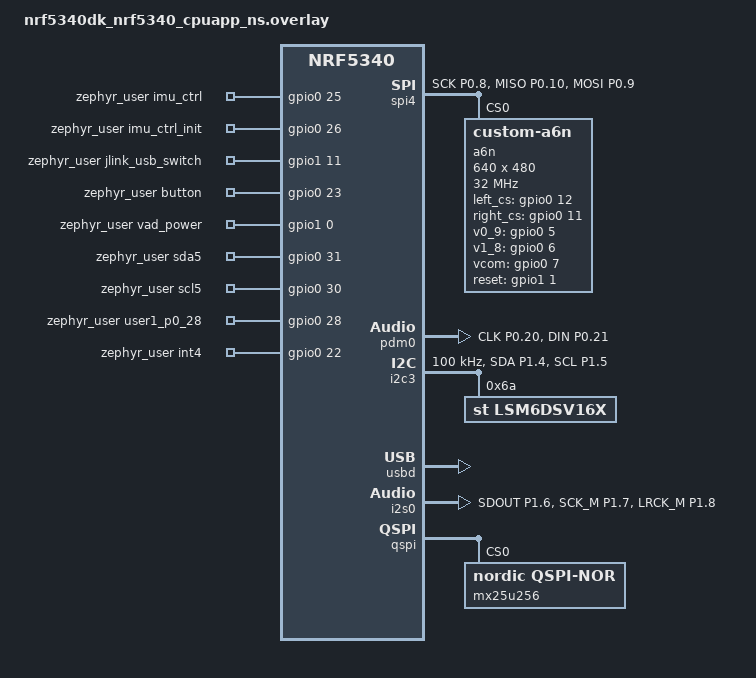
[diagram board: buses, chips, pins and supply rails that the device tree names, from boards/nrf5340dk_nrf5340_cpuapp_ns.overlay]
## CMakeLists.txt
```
#
# Copyright (c) 2018 Nordic Semiconductor
#
# SPDX-License-Identifier: LicenseRef-Nordic-5-Clause

cmake_minimum_required(VERSION 3.20.0)

# Note: custom driver module registration enabled for A6N integration
set(ZEPHYR_EXTRA_MODULES ${CMAKE_CURRENT_SOURCE_DIR}/custom_driver_module)

find_package(Zephyr REQUIRED HINTS $ENV{ZEPHYR_BASE})
project(nrf5340_ble_simulator)

# Add nanopb support for protobuf
list(APPEND CMAKE_MODULE_PATH ${ZEPHYR_BASE}/modules/nanopb)
include(nanopb)

add_subdirectory(src/mos_driver)
add_subdirectory(src/mos_components/mos_ble)
add_subdirectory(src/mos_components/mos_sysport)
add_subdirectory(src/mos_components/mos_pdm)
add_subdirectory(src/mos_components/mos_battery)
add_subdirectory(src/mos_components/mos_button)
add_subdirectory(src/mos_components/mos_interrupt)
add_subdirectory(src/mos_components/mos_lvgl_display)
add_subdirectory(src/mos_components/mos_jlink_usb_switch)

target_include_directories(app PRIVATE src src/protobuf)

target_sources(app PRIVATE
    src/main.c
    src/protobuf/protobuf_handler.c
    src/shell_display_control.c
    src/shell_opt3006.c
    src/shell_battery_control.c
    src/shell_audio_control.c
    src/shell_lsm6dsv16x.c
    src/shell_jlink_usb_switch.c
    src/shell_npm1300_led.c
)

# Add protobuf sources when available
if(EXISTS ${CMAKE_CURRENT_SOURCE_DIR}/src/proto/mentraos_ble.pb.c)
  target_sources(app PRIVATE src/proto/mentraos_ble.pb.c)
  target_include_directories(app PRIVATE src/proto)
elseif(EXISTS ${CMAKE_CURRENT_SOURCE_DIR}/src/mentraos_ble.pb.c)
  target_sources(app PRIVATE src/mentraos_ble.pb.c)
endif()


zephyr_library_include_directories(.)
```

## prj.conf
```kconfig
#
# Copyright (c) 2018 Nordic Semiconductor
#
# SPDX-License-Identifier: LicenseRef-Nordic-5-Clause
#

# Enable the UART driver
# CONFIG_UART_ASYNC_API=y  # Disabled: dependency not satisfied
CONFIG_NRFX_UARTE0=y
CONFIG_SERIAL=y

CONFIG_GPIO=y
CONFIG_LED_GPIO=n

CONFIG_CLOCK_CONTROL=y
CONFIG_CLOCK_CONTROL_NRF=y
# Enable NRFX clock driver for 128MHz configuration
CONFIG_NRFX_CLOCK=y
# Enable high-frequency external crystal for better SPI timing
CONFIG_SYSTEM_CLOCK_NO_WAIT=y

# Make sure printk is printing to the UART console
CONFIG_CONSOLE=y
CONFIG_UART_CONSOLE=y

CONFIG_HEAP_MEM_POOL_SIZE=2048

# High-Frequency Clock Configuration for SPI Performance
CONFIG_CLOCK_CONTROL=y
CONFIG_CLOCK_CONTROL_NRF=y
# Enable high-frequency external crystal for better SPI timing
CONFIG_SYSTEM_CLOCK_NO_WAIT=y

CONFIG_BT=y
CONFIG_BT_PERIPHERAL=y
CONFIG_BT_DEVICE_NAME="MENTRA_DISPLAY_"
CONFIG_BT_MAX_CONN=1
CONFIG_BT_MAX_PAIRED=1

# Enable BLE GATT
CONFIG_BT_GATT_SERVICE_CHANGED=y

# Enable advertising
CONFIG_BT_BROADCASTER=y
CONFIG_BT_EXT_ADV=n

# MentraOS Version Configuration
# CONFIG_MENTRAOS_VERSION_STRING="V1.2.6"  # Disabled: symbol not defined in Kconfig

# Increase buffer sizes for protobuf messages
CONFIG_BT_L2CAP_TX_MTU=247
CONFIG_BT_BUF_ACL_RX_SIZE=251
CONFIG_BT_BUF_ACL_TX_SIZE=251
CONFIG_BT_DEVICE_NAME_DYNAMIC=y
# Enable bonding
CONFIG_BT_SETTINGS=y
CONFIG_FLASH=y
CONFIG_FLASH_PAGE_LAYOUT=y
CONFIG_FLASH_MAP=y

# BLE signing (AES-CMAC) - required when bonding is enabled, fixes:
#   bt_gatt: Unable to import the key for AES CMAC -134
#   main: Chunk send failed / Final failure at offset=0
CONFIG_PSA_WANT_ALG_CMAC=y
CONFIG_PSA_WANT_KEY_TYPE_AES=y
CONFIG_PSA_WANT_ALG_ECB_NO_PADDING=y

# Enable DK LED and Buttons library
CONFIG_DK_LIBRARY=y

# Enable PWM for LED brightness control
CONFIG_PWM=y
CONFIG_PWM_LOG_LEVEL_DBG=y

CONFIG_SYSTEM_WORKQUEUE_STACK_SIZE=2048

CONFIG_MAIN_STACK_SIZE=4096
# Config logger
CONFIG_LOG=y
CONFIG_USE_SEGGER_RTT=y
# CONFIG_LOG_BACKEND_RTT=y
CONFIG_LOG_BACKEND_UART=n

CONFIG_LOG_PRINTK=y
# CONFIG_LOG_DEFAULT_LEVEL=0
# Configure log filtering - ensure printk goes to console
CONFIG_LOG_RUNTIME_FILTERING=y

CONFIG_ASSERT=y

# USB Device Configuration - MentraOS Branding
CONFIG_USB_DEVICE_VID=0x1915
CONFIG_USB_DEVICE_PID=0x530A
CONFIG_USB_DEVICE_MANUFACTURER="MENTRA LABS .INC"
CONFIG_USB_DEVICE_PRODUCT="Mentra Nex1 Glasses"
# CONFIG_USB_DEVICE_SN="0123456789ABCDEF"

CONFIG_USB_DEVICE_STACK=y

CONFIG_USB_CDC_ACM=y
CONFIG_UART_LINE_CTRL=y
CONFIG_USB_DEVICE_INITIALIZE_AT_BOOT=y

# Enable nanopb for protobuf support
CONFIG_NANOPB=y

# Display + LVGL Configuration - WORKING IMPLEMENTATION FROM PERIPHERAL_UART_NEXT
CONFIG_DISPLAY=y
CONFIG_DISPLAY_LOG_LEVEL_ERR=y
CONFIG_LVGL=y
CONFIG_LV_COLOR_DEPTH_1=y
CONFIG_LV_Z_MEM_POOL_SIZE=65536
CONFIG_LV_USE_LABEL=y
CONFIG_LV_USE_THEME_DEFAULT=y

# Enable LVGL for Zephyr
CONFIG_LV_Z_FLUSH_THREAD=y
CONFIG_LV_Z_FLUSH_THREAD_STACK_SIZE=4096

# LVGL Display Buffer Settings - MUCH LARGER for full screen updates
# CONFIG_LV_Z_FULL_REFRESH=y
CONFIG_LV_Z_VDB_SIZE=40
CONFIG_LV_Z_DOUBLE_VDB=y
CONFIG_LV_Z_VDB_CUSTOM_SECTION=n
# Remove dummy display - switching to A6N projector for testing
# CONFIG_DUMMY_DISPLAY=y

# Enable custom A6N Display Driver for projector testing  
CONFIG_CUSTOM_A6N=y

# SPI Support for Display with High-Frequency Optimization
CONFIG_SPI=y
# Enhanced SPI configuration for 32MHz operation
CONFIG_SPI_ASYNC=y

# LVGL Fonts - Keep minimal set to save FLASH memory
CONFIG_LV_FONT_MONTSERRAT_12=y
CONFIG_LV_FONT_MONTSERRAT_14=y
# Large display fonts disabled to save FLASH memory
# CONFIG_LV_FONT_MONTSERRAT_16=y  
CONFIG_LV_FONT_MONTSERRAT_18=y
# CONFIG_LV_FONT_MONTSERRAT_20=y
# CONFIG_LV_FONT_MONTSERRAT_22=y
# CONFIG_LV_FONT_MONTSERRAT_30=y  # 30pt font commented out in project
CONFIG_LV_FONT_MONTSERRAT_48=y

# Unicode and Font support for Chinese characters - minimal set
CONFIG_LV_USE_FONT_COMPRESSED=y
CONFIG_LV_FONT_FMT_TXT_LARGE=y

# Enable extended ASCII and Unicode support
CONFIG_LV_TXT_ENC_UTF8=y

# Enable only essential Chinese CJK font (14px sufficient for SSD1306)
# CONFIG_LV_FONT_SIMSUN_14_CJK=y
# CONFIG_LV_FONT_SIMSUN_16_CJK=y  # Disabled to save ~70KB

# International fonts disabled to save memory
# CONFIG_LV_FONT_DEJAVU_16_PERSIAN_HEBREW=y  # Disabled to save ~20KB  
# CONFIG_LV_FONT_UNSCII_8=y                 # Disabled to save ~8KB
# CONFIG_LV_FONT_UNSCII_16=y                # Disabled to save ~15KB

# Power Management
CONFIG_PM_DEVICE=y
CONFIG_POWEROFF=y

# PDM Audio Configuration for Microphone Input
CONFIG_AUDIO=y
CONFIG_AUDIO_DMIC=y
CONFIG_AUDIO_DMIC_NRFX_PDM=y

# LC3 Codec Configuration for Audio Streaming  
CONFIG_AUDIO_CODEC=y

# Math library for audio processing
CONFIG_NEWLIB_LIBC=y
CONFIG_FPU=y


CONFIG_CMSIS_DSP=y
CONFIG_SW_CODEC_LC3_T2_SOFTWARE=y
CONFIG_LC3_ENC_CHAN_MAX=2
CONFIG_LC3_DEC_CHAN_MAX=2

CONFIG_NRFX_I2S0=y
CONFIG_USER_STEREO_1RX_L_1RX_R=y
# CONFIG_USER_STEREO_2RX_L is not set
# CONFIG_USER_STEREO_2RX_LR is not set

CONFIG_BT_USER_PHY_UPDATE=y
CONFIG_BT_USER_DATA_LEN_UPDATE=y

# CONFIG_SEGGER_RTT_BUFFER_SIZE_UP=4096
CONFIG_LOG_BUFFER_SIZE=8192
CONFIG_LOG_MODE_IMMEDIATE=n 
CONFIG_LOG_MODE_DEFERRED=y




CONFIG_I2C=y

CONFIG_GPIO=y
CONFIG_DISPLAY_LOG_LEVEL_DBG=y

CONFIG_TFM_SECURE_UART=n
CONFIG_TFM_LOG_LEVEL_SILENCE=y

# CONFIG_LV_USE_SYSMON=y
# CONFIG_LV_USE_PERF_MONITOR=y
# CONFIG_LV_FONT_DEFAULT_MONTSERRAT_12=y
# CONFIG_LV_USE_PERF_MONITOR_LOG_MODE=y

CONFIG_SHELL=y
CONFIG_LOG_CMDS=y
CONFIG_SHELL_BACKEND_SERIAL=y
CONFIG_SHELL_BACKEND_RTT=y
CONFIG_SHELL_PROMPT_UART="MentraOS:~$ "
CONFIG_SHELL_PROMPT_RTT="MentraOS:~$ "
CONFIG_SHELL_CMD_BUFF_SIZE=256
CONFIG_SHELL_PRINTF_BUFF_SIZE=64
CONFIG_SHELL_BACKEND_SERIAL_TX_RING_BUFFER_SIZE=512
CONFIG_SHELL_STACK_SIZE=8192
CONFIG_SHELL_BACKEND_SERIAL_LOG_MESSAGE_QUEUE_SIZE=2048
CONFIG_I2C_SHELL=y
CONFIG_SENSOR_SHELL=y

CONFIG_REGULATOR=y
CONFIG_SENSOR=y
CONFIG_LED=y
# Disable LED PWM driver - pwm1 is disabled and pwmleds node is removed
CONFIG_LED_PWM=n
CONFIG_NRF_FUEL_GAUGE=y
CONFIG_NRF_FUEL_GAUGE_VARIANT_SECONDARY_CELL=y
# CONFIG_LSM6DSV16X=y  # Disabled - using raw I2C mode, alias points to i2c2 bus directly
# CONFIG_LIS2MDL=y
```

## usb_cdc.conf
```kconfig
# USB CDC ACM Configuration for Shell and Log via USB
CONFIG_USB_DEVICE_STACK=y
CONFIG_USB_DEVICE_MANUFACTURER="Nordic Semiconductor"
CONFIG_USB_DEVICE_PRODUCT="Mentra Nex1 Glasses"
CONFIG_USB_DEVICE_VID=0x1915
CONFIG_USB_DEVICE_PID=0x530A
CONFIG_USB_CDC_ACM=y
CONFIG_UART_LINE_CTRL=y
CONFIG_USB_DEVICE_INITIALIZE_AT_BOOT=y
```

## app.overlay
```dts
#include <zephyr/dt-bindings/sensor/lsm6dsv16x.h>

/ {
    chosen {
        zephyr,display = &a6n;
        // /* USB CDC ACM for console/shell */
        zephyr,console = &cdc_acm_uart0;
        zephyr,shell-uart = &cdc_acm_uart0;
        nordic,pm-ext-flash = &mx25u256;
    };
    /delete-node/ aliases;
    aliases {
        opt3006 = &i2c3;  // OPT3006 Ambient Light Sensor I2C bus (raw I2C mode)
        lsm6dsv16x = &lsm6dsv16x;  // LSM6DSV16X IMU sensor node
    };

    zephyr_user: zephyr,user {
        imu_int1-gpios = <&gpio1 15 GPIO_ACTIVE_HIGH>;  // P1.15 for LSM6DSV16X INT1
        jlink_usb_switch-gpios = <&gpio1 11 GPIO_ACTIVE_HIGH>;  // P1.11 for J-Link/USB switch control
        button-gpios = <&gpio0 23 GPIO_ACTIVE_HIGH>;  // P0.23 for button input
        vad_power-gpios = <&gpio1 0 GPIO_ACTIVE_HIGH>;  // P1.00 for VAD_EN power control

        int4-gpios = <&gpio0 22 GPIO_ACTIVE_HIGH>;     // P0.22 INT4
        ear_en-gpios = <&gpio0 19 GPIO_ACTIVE_HIGH>;  // P0.19 for Ear Power Enable
    };
};

&pinctrl {
    spi4_default: spi4_default {
        group1 {
            psels = <NRF_PSEL(SPIM_SCK, 0, 8)>,
                    <NRF_PSEL(SPIM_MISO, 0, 10)>,
                    <NRF_PSEL(SPIM_MOSI, 0, 9)>;
            nordic,drive-mode = <NRF_DRIVE_E0E1>;
        };
    };
    spi4_sleep: spi4_sleep {
        group1 {
            psels = <NRF_PSEL(SPIM_SCK, 0, 8)>,
                    <NRF_PSEL(SPIM_MISO, 0, 10)>,
                    <NRF_PSEL(SPIM_MOSI, 0, 9)>;
            low-power-enable;
        };
    };
    pdm0_default: pdm0_default {
        group1 {
            psels = <NRF_PSEL(PDM_CLK, 0, 20)>,
                    <NRF_PSEL(PDM_DIN, 0, 21)>;
        };
    };

    i2c2_default: i2c2_default {
        group1 {
            psels = <NRF_PSEL(TWIM_SDA, 0, 31)>,
                    <NRF_PSEL(TWIM_SCL, 0, 30)>;
            bias-pull-up;
            nordic,drive-mode = <NRF_DRIVE_S0D1>;
        };
    };
    i2c2_sleep: i2c2_sleep {
        group1 {
            psels = <NRF_PSEL(TWIM_SDA, 0, 31)>,
                    <NRF_PSEL(TWIM_SCL, 0, 30)>;
            low-power-enable;
        };
    };
    i2c3_default: i2c3_default {
        group1 {
            psels = <NRF_PSEL(TWIM_SDA, 1, 3)>,
                    <NRF_PSEL(TWIM_SCL, 1, 2)>;
            bias-pull-up;
            nordic,drive-mode = <NRF_DRIVE_S0D1>;
        };
    };
    i2c3_sleep: i2c3_sleep {
        group1 {
            psels = <NRF_PSEL(TWIM_SDA, 1, 3)>,
                    <NRF_PSEL(TWIM_SCL, 1, 2)>;
            low-power-enable;
        };
    };

    i2s0_default: i2s0_default {
        group1 {
            psels = <NRF_PSEL(I2S_SDOUT, 1, 6)>,
                    <NRF_PSEL(I2S_SCK_M, 1, 7)>,
                    <NRF_PSEL(I2S_LRCK_M, 1, 8)>;
            // <NRF_PSEL(I2S_SDIN, 0, 0)>;

        };
    };
};

&spi3 {
    status = "disabled";
};

/* Enable SPI4 with 32MHz capability for A6N */
&spi4 {
    compatible = "nordic,nrf-spim";
    status = "okay";
    pinctrl-0 = <&spi4_default>;
    pinctrl-1 = <&spi4_sleep>;
    pinctrl-names = "default", "sleep";

    a6n: a6n@0 {
        compatible = "zephyr,custom-a6n";
        reg = <0>;
        status = "okay";  // Enable A6N for projector testing
        spi-max-frequency = <32000000>;
        left_cs-gpios = <&gpio0 12 GPIO_ACTIVE_HIGH>; // cs0
        right_cs-gpios = <&gpio0 11 GPIO_ACTIVE_HIGH>;// cs1
        /* Power enables and reset */
        v0_9-gpios = <&gpio0 5 GPIO_ACTIVE_HIGH>;  /* P0.05 */
        v1_8-gpios = <&gpio0 6 GPIO_ACTIVE_HIGH>;  /* P0.06 */
        vcom-gpios = <&gpio0 7 GPIO_ACTIVE_HIGH>;  /* P0.07 */
        reset-gpios = <&gpio1 1 GPIO_ACTIVE_HIGH>;  /* P1.01 */

        width = <640>;
        height = <480>;
    };
};



/* Enable PDM for microphone audio streaming */
&pdm0 {
    status = "okay";
    pinctrl-0 = <&pdm0_default>;
    pinctrl-names = "default";
    clock-source = "PCLK32M_HFXO";
    queue-size = <4>;
};

&i2c2 {
    compatible = "nordic,nrf-twim";
    status = "okay";
    pinctrl-0 = <&i2c2_default>;
    pinctrl-1 = <&i2c2_sleep>;
    pinctrl-names = "default", "sleep";
    
    lsm6dsv16x: lsm6dsv16x@6a {
        compatible = "st,lsm6dsv16x";
        reg = <0x6a>; /* AD0 = GND */
        status = "okay";
        int1-gpios = <&gpio1 15 GPIO_ACTIVE_HIGH>; /* P1.15 INT1 */
        accel-odr = <LSM6DSV16X_DT_ODR_AT_60Hz>;
        gyro-odr = <LSM6DSV16X_DT_ODR_AT_60Hz>;
        accel-range = <LSM6DSV16X_DT_FS_4G>;
        gyro-range = <LSM6DSV16X_DT_FS_500DPS>;
    };
};

&i2c3 {
    compatible = "nordic,nrf-twim";
    status = "okay";
    pinctrl-0 = <&i2c3_default>;
    pinctrl-1 = <&i2c3_sleep>;
    pinctrl-names = "default", "sleep";
};



&gpio_fwd {
    status = "disabled";
    /delete-node/ uart;
};

zephyr_udc0: &usbd {
    compatible = "nordic,nrf-usbd";
    status = "okay";

    cdc_acm_uart0: cdc_acm_uart0 {
        compatible = "zephyr,cdc-acm-uart";
    };
};

&i2s0 {
    compatible = "nordic,nrf-i2s";
    status = "okay";
    pinctrl-0 = <&i2s0_default>;
    pinctrl-names = "default";
    // clock-source = "ACLK";
};
/delete-node/ &mx25r64;
/delete-node/ &led0;
/delete-node/ &led1;
/delete-node/ &led2;
/delete-node/ &led3;
/delete-node/ &button0;
/delete-node/ &button1;
/delete-node/ &button2;
/delete-node/ &button3;

&qspi {
    status = "okay";
    pinctrl-0 = <&qspi_default>;
    pinctrl-1 = <&qspi_sleep>;
    pinctrl-names = "default", "sleep";
    mx25u256: mx25u256@0 {
        compatible = "nordic,qspi-nor";
        reg = <0>;
        /* MX25U256 supports only pp and pp4io */
        writeoc = "pp4io";
        /* MX25U256 supports all readoc options */
        readoc = "read4io";
        sck-frequency = <32000000>;//最高 48Mhz
        address-size-32;
        enter-4byte-addr = <0xb7>;
        jedec-id = [ c2 25 39  ];
        sfdp-bfp = [ e5 20 fb ff ff ff ff 0f 44 eb 08 6b 08 3b 04 bb fe ff ff ff ff ff 00 ff ff ff 44 eb 0c 20 0f 52 10 d8 00 ff 25 52 dd 00 84 a5 04 e2 44 03 17 38 30 b0 30 b0 f7 bd d5 5c 4a 9e 29 ff f0 50 f9 85  ];
        size = <0x2000000>;// 32M
        has-dpd;
        t-enter-dpd = <10000>;
        t-exit-dpd = <35000>;
    };
};

&uart0 {
    status = "disabled";
};
&pwm0 {
    status = "disabled";
};

&pwm1 {
    status = "disabled";
};

/* Configure GPIO0 sense-edge-mask for low-power button wakeup | 配置GPIO0 sense-edge-mask用于低功耗按键唤醒 */
/* P0.23 is bit 23, so mask = (1 << 23) = 0x800000 | P0.23是第23位，所以掩码 = (1 << 23) = 0x800000 */
&gpio0 {
    sense-edge-mask = <0x800000>;
};
&gpio1 {
    sense-edge-mask = <0x0>;
};
```

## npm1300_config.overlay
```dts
/*
 * Copyright (C) 2023 Nordic Semiconductor ASA
 * SPDX-License-Identifier: Apache-2.0
 */

#include <dt-bindings/regulator/npm1300.h>
#include <zephyr/dt-bindings/input/input-event-codes.h>

&pinctrl {
    arduino_i2c_default: arduino_i2c_default {
        group1 {
            psels = <NRF_PSEL(TWIM_SCL, 0, 29)>,
                    <NRF_PSEL(TWIM_SDA, 1, 10)>;
            bias-pull-up;
        };
    };
    arduino_i2c_sleep: arduino_i2c_sleep {
        group1 {
            psels = <NRF_PSEL(TWIM_SCL, 0, 29)>,
                    <NRF_PSEL(TWIM_SDA, 1, 10)>;
            low-power-enable;
        };
    };
};

&arduino_i2c {
    status = "okay";
    pinctrl-0 = <&arduino_i2c_default>;
    pinctrl-1 = <&arduino_i2c_sleep>;
    pinctrl-names = "default", "sleep";
    clock-frequency = <I2C_BITRATE_STANDARD>;

    npm1300_ek_pmic: pmic@6b {
        compatible = "nordic,npm1300";
        reg = <0x6b>;
        // ship-to-active-time = <96>;
        // long-press-reset = "one_button";
        npm1300_ek_gpio: gpio-controller {
            compatible = "nordic,npm1300-gpio";
            gpio-controller;
            #gpio-cells = <2>;
            ngpios = <5>;
            // phandle = <6>;
        };
        npm1300_ek_regulators: regulators {
            compatible = "nordic,npm1300-regulator";

            npm1300_ek_buck1: BUCK1 {
                regulator-min-microvolt = <1000000>;
                regulator-max-microvolt = <3300000>;
                retention-microvolt = <1200000>;
            };
            npm1300_ek_buck2: BUCK2 {
                regulator-min-microvolt = <1000000>;
                regulator-max-microvolt = <3300000>;
                retention-microvolt = <1800000>;
            };

            npm1300_ek_ldo1: LDO1 {
                regulator-min-microvolt = <1000000>;
                regulator-max-microvolt = <3300000>;
                regulator-initial-mode = <NPM1300_LDSW_MODE_LDSW>;
                regulator-boot-on;
            };
            npm1300_ek_ldo2: LDO2 {
                regulator-min-microvolt = <1000000>;
                regulator-max-microvolt = <3300000>;
                regulator-initial-mode = <NPM1300_LDSW_MODE_LDSW>;
                regulator-boot-on;
            };

        };

        npm1300_ek_charger: charger {
            compatible = "nordic,npm1300-charger";
            term-microvolt = <4400000>;// 充电终止电压; Charging termination voltage
            term-warm-microvolt = <3600000>;
            // term-current-percent = <10>;
            
            // current-microamp = <800000>;// 限制充电电流(uA); Limit charging current (uA)
            current-microamp = <170000>;// 限制充电电流(uA); Limit charging current (uA)

            // trickle-microvolt = <2900000>;
            // dischg-limit-microamp = <200000>; // 限制放电电流(uA); Limit discharge current (uA)
            dischg-limit-microamp = <1000000>; // 限制放电电流(uA); Limit discharge current (uA)
            vbus-limit-microamp = <500000>;
            thermistor-ohms = <100000>;
            thermistor-beta = <3380>;

            charging-enable;
            vbatlow-charge-enable;
        };


        npm1300_ek_leds: leds {
            compatible = "nordic,npm1300-led";
            nordic,led0-mode = "host";//"error";
            nordic,led1-mode = "host";//"charging";
            nordic,led2-mode = "host";
        };

    };
};
```

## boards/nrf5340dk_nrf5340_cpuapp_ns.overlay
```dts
/ {
    chosen {
        zephyr,display = &a6n;  // Switch to A6N projector for testing
        // nordic-nus-uart = &uart0;
        // /* USB CDC ACM for console/shell */
        zephyr,console = &cdc_acm_uart0;
        zephyr,shell-uart = &cdc_acm_uart0;
        nordic,pm-ext-flash = &mx25u256;
        // nordic,pm-ext-flash = &mx25r64;  // For testing with MX25R64
    };
    /delete-node/ aliases;
    aliases {
        myals = &i2c3;  // My Ambient Light Sensor I2C bus
        lsm6dsv16x = &lsm6dsv16x;  // LSM6DSV16X IMU sensor
    };

    zephyr_user: zephyr,user {
        imu_ctrl-gpios = <&gpio0 25 GPIO_ACTIVE_HIGH>;  // P1.05 for IMU start/stop control
        imu_ctrl_init-gpios = <&gpio0 26 GPIO_ACTIVE_HIGH>;// P1.04 for IMU initial power control
        jlink_usb_switch-gpios = <&gpio1 11 GPIO_ACTIVE_HIGH>;  // P1.11 for J-Link/USB switch control
        button-gpios = <&gpio0 23 GPIO_ACTIVE_HIGH>;  // P0.23 for button input
        vad_power-gpios = <&gpio1 0 GPIO_ACTIVE_HIGH>;  // P1.00 for VAD_EN power control
        
        /* User GPIO definitions | 用户GPIO定义 */
        sda5-gpios = <&gpio0 31 GPIO_ACTIVE_HIGH>;      // P0.31 SDA5
        scl5-gpios = <&gpio0 30 GPIO_ACTIVE_HIGH>;      // P0.30 SCL5
        user1_p0_28-gpios = <&gpio0 28 GPIO_ACTIVE_HIGH>;  // P0.28 user1
        int4-gpios = <&gpio0 22 GPIO_ACTIVE_HIGH>;     // P0.22 INT4
    };
};

&pinctrl {
    spi4_default: spi4_default {
        group1 {
            psels = <NRF_PSEL(SPIM_SCK, 0, 8)>,
                    <NRF_PSEL(SPIM_MISO, 0, 10)>,
                    <NRF_PSEL(SPIM_MOSI, 0, 9)>;
            nordic,drive-mode = <NRF_DRIVE_E0E1>;
        };
    };
    spi4_sleep: spi4_sleep {
        group1 {
            psels = <NRF_PSEL(SPIM_SCK, 0, 8)>,
                    <NRF_PSEL(SPIM_MISO, 0, 10)>,
                    <NRF_PSEL(SPIM_MOSI, 0, 9)>;
            low-power-enable;
        };
    };

    pwm1_default: pwm1_default {
        group1 {
            psels = <NRF_PSEL(PWM_OUT0, 0, 13)>;  /* P0.13 */
        };
    };
    pwm1_sleep: pwm1_sleep {
        group1 {
            psels = <NRF_PSEL(PWM_OUT0, 0, 13)>;
            low-power-enable;
        };
    };

    pdm0_default: pdm0_default {
        group1 {
            psels = <NRF_PSEL(PDM_CLK, 0, 20)>,
                    <NRF_PSEL(PDM_DIN, 0, 21)>;
        };
    };


    i2c3_default: i2c3_default {
        group1 {
            psels = <NRF_PSEL(TWIM_SDA, 1, 4)>,
                    <NRF_PSEL(TWIM_SCL, 1, 5)>;
            bias-pull-up;
            nordic,drive-mode = <NRF_DRIVE_S0D1>;
        };
    };
    i2c3_sleep: i2c3_sleep {
        group1 {
            psels = <NRF_PSEL(TWIM_SDA, 1, 4)>,
                    <NRF_PSEL(TWIM_SCL, 1, 5)>;
            low-power-enable;
        };
    };

    i2s0_default: i2s0_default {
        group1 {
            psels = <NRF_PSEL(I2S_SDOUT, 1, 6)>,
                    <NRF_PSEL(I2S_SCK_M, 1, 7)>,
                    <NRF_PSEL(I2S_LRCK_M, 1, 8)>;
            // <NRF_PSEL(I2S_SDIN, 0, 0)>;

        };
    };
};

/* Disable SPI3 (8MHz limited) */
&spi3 {
    status = "disabled";
};

/* Enable SPI4 with 32MHz capability for A6N */
&spi4 {
    compatible = "nordic,nrf-spim";
    status = "okay";
    pinctrl-0 = <&spi4_default>;
    pinctrl-1 = <&spi4_sleep>;
    pinctrl-names = "default", "sleep";

    a6n: a6n@0 {
        compatible = "zephyr,custom-a6n";
        reg = <0>;
        status = "okay";  // Enable A6N for projector testing
        spi-max-frequency = <32000000>;
        left_cs-gpios = <&gpio0 12 GPIO_ACTIVE_HIGH>; // cs0
        right_cs-gpios = <&gpio0 11 GPIO_ACTIVE_HIGH>;// cs1
        /* Power enables and reset */
        v0_9-gpios = <&gpio0 5 GPIO_ACTIVE_HIGH>;  /* P0.05 */
        v1_8-gpios = <&gpio0 6 GPIO_ACTIVE_HIGH>;  /* P0.06 */
        vcom-gpios = <&gpio0 7 GPIO_ACTIVE_HIGH>;  /* P0.07 */
        reset-gpios = <&gpio1 1 GPIO_ACTIVE_HIGH>;  /* P1.01 */

        width = <640>;
        height = <480>;
    };
};

/* Enable PWM1 for protobuf handler */
&pwm1 {
    status = "okay";
    pinctrl-0 = <&pwm1_default>;
    pinctrl-1 = <&pwm1_sleep>;
    pinctrl-names = "default", "sleep";
};

/* Enable PDM for microphone audio streaming */
&pdm0 {
    status = "okay";
    pinctrl-0 = <&pdm0_default>;
    pinctrl-names = "default";
    clock-source = "PCLK32M_HFXO";
    queue-size = <4>;
};

&i2c1 {
    status = "disabled";
};

/* Enable I2C3 for OPT3006 light sensor and LSM6DSV16X IMU */
&i2c3 {
    compatible = "nordic,nrf-twim";
    status = "okay";
    pinctrl-0 = <&i2c3_default>;
    pinctrl-1 = <&i2c3_sleep>;
    pinctrl-names = "default", "sleep";
    clock-frequency = <I2C_BITRATE_STANDARD>;  // 100kHz for LSM6DSV16X

    lsm6dsv16x: lsm6dsv16x@6a {
        compatible = "st,lsm6dsv16x";
        //   AD0 = VDD → I2C address = 0x6b
        //   AD0 = GND → I2C address = 0x6a (current configuration)
        reg = <0x6a>;
        status = "okay";
        // Enable hardware sensor fusion (SFLP) for quaternion output
        // 启用硬件传感器融合（SFLP）以输出四元数
        sflp-odr = <0x3>;  // 120Hz SFLP output rate | SFLP输出频率120Hz
        sflp-fifo-enable = <0x1>;  // Enable game rotation vector (quaternion) | 启用游戏旋转向量（四元数）
        fifo-watermark = <32>;  // FIFO watermark for batch reading | FIFO水位标记用于批量读取
    };
};


&gpio_fwd {
    status = "disabled";
    /delete-node/ uart;
};

zephyr_udc0: &usbd {
    compatible = "nordic,nrf-usbd";
    status = "okay";

    cdc_acm_uart0: cdc_acm_uart0 {
        compatible = "zephyr,cdc-acm-uart";
    };
};

&i2s0 {
    compatible = "nordic,nrf-i2s";
    status = "okay";
    pinctrl-0 = <&i2s0_default>;
    pinctrl-names = "default";
    // clock-source = "ACLK";
};



// &qspi {
    //     status = "okay";
    //     pinctrl-0 = <&qspi_default>;
    //     pinctrl-1 = <&qspi_sleep>;
    //     pinctrl-names = "default", "sleep";
    //     mx25r64: mx25r6435f@0 {
        //         compatible = "nordic,qspi-nor";
        //         reg = <0>;
        //         /* MX25R64 supports only pp and pp4io */
        //         writeoc = "pp4io";
        //         /* MX25R64 supports all readoc options */
        //         readoc = "read4io";
        //         sck-frequency = <8000000>;
        //         jedec-id = [ c2 28 17  ];
        //         sfdp-bfp = [
        //             e5 20 f1 ff  ff ff ff 03  44 eb 08 6b  08 3b 04 bb
        //             ee ff ff ff  ff ff 00 ff  ff ff 00 ff  0c 20 0f 52
        //             10 d8 00 ff  23 72 f5 00  82 ed 04 cc  44 83 68 44
        //             30 b0 30 b0  f7 c4 d5 5c  00 be 29 ff  f0 d0 ff ff];
        //         size = <67108864>;
        //         has-dpd;
        //         t-enter-dpd = <10000>;
        //         t-exit-dpd = <35000>;
    //     };
// };
/* Remove LED nodes to avoid aliases conflicts with DK LEDs */
/delete-node/ &mx25r64;
/delete-node/ &led0;
/delete-node/ &led1;
/delete-node/ &led2;
/delete-node/ &led3;
/delete-node/ &button0;
/delete-node/ &button1;
/delete-node/ &button2;
/delete-node/ &button3;
&qspi {
    status = "okay";
    pinctrl-0 = <&qspi_default>;
    pinctrl-1 = <&qspi_sleep>;
    pinctrl-names = "default", "sleep";
    mx25u256: mx25u256@0 {
        compatible = "nordic,qspi-nor";
        reg = <0>;
        /* MX25U256 supports only pp and pp4io */
        writeoc = "pp4io";
        /* MX25U256 supports all readoc options */
        readoc = "read4io";
        sck-frequency = <32000000>;//最高 48Mhz
        address-size-32;
        enter-4byte-addr = <0xb7>;
        jedec-id = [ c2 25 39  ];
        sfdp-bfp = [ e5 20 fb ff ff ff ff 0f 44 eb 08 6b 08 3b 04 bb fe ff ff ff ff ff 00 ff ff ff 44 eb 0c 20 0f 52 10 d8 00 ff 25 52 dd 00 84 a5 04 e2 44 03 17 38 30 b0 30 b0 f7 bd d5 5c 4a 9e 29 ff f0 50 f9 85  ];
        size = <0x2000000>;// 32M
        has-dpd;
        t-enter-dpd = <10000>;
        t-exit-dpd = <35000>;
    };
};

&uart0 {
    status = "disabled";
};
&pwm0 {
    status = "disabled";
};
&pwm1 {
    status = "disabled";
};

/* Configure GPIO0 sense-edge-mask for low-power button wakeup | 配置GPIO0 sense-edge-mask用于低功耗按键唤醒 */
/* P0.23 is bit 23, so mask = (1 << 23) = 0x800000 | P0.23是第23位，所以掩码 = (1 << 23) = 0x800000 */
&gpio0 {
    sense-edge-mask = <0x800000>;  /* Enable SENSE for P0.23 (button) | 为P0.23（按键）启用SENSE */
};
```

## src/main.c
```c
/*
 * Copyright (c) 2018 Nordic Semiconductor ASA
 *
 * SPDX-License-Identifier: LicenseRef-Nordic-5-Clause
 */

/** @file
 *  @brief MentraOS Main Application
 */
#include <soc.h>
#include <zephyr/bluetooth/bluetooth.h>
#include <zephyr/bluetooth/gatt.h>
#include <zephyr/bluetooth/hci.h>
#include <zephyr/bluetooth/uuid.h>
#include <zephyr/device.h>
#include <zephyr/devicetree.h>
#include <zephyr/drivers/display.h>
#include <zephyr/drivers/gpio.h>
#include <zephyr/kernel.h>
#include <zephyr/types.h>

#include "mos_ble_service.h"
#include "mos_lvgl_display.h"  // Working LVGL display integration
#include "pdm_audio_stream.h"
#include "protobuf_handler.h"
// #include "display/lcd/a6n.h"  // Working A6N driver
#include <hal/nrf_gpio.h>  // For direct GPIO access
#include <nrfx_clock.h>
#include <stdbool.h>
#include <stdio.h>
#include <string.h>
#include <zephyr/irq.h>
#include <zephyr/logging/log.h>
#include <zephyr/logging/log_ctrl.h>
#include <zephyr/settings/settings.h>
#include <zephyr/sys/util.h>  // For ARRAY_SIZE macro

#include "interrupt_handler.h"  // Interrupt handler framework
#include "mos_button_app.h"     // Button application logic
#include "mos_dfu_progress.h"
#include "mos_fuel_gauge.h"
#include "mos_jlink_usb_switch_app.h"  // J-Link/USB switch application logic
#include "mos_lsm6dsv16x.h"            // LSM6DSV16X 6-axis IMU sensor
#include "mos_npm1300_ldsw.h"          // NPM1300 LDSW (load switch) control
#include "mos_npm1300_led.h"
#include "mos_opt3006.h"     // OPT3006 ambient light sensor
#include "mos_usb_detect.h"  // USB cable detection (polling mode)

LOG_MODULE_REGISTER(main, LOG_LEVEL_DBG);

#define STACKSIZE 2048
#define PRIORITY  7

#define DEVICE_NAME     CONFIG_BT_DEVICE_NAME
#define DEVICE_NAME_LEN (sizeof(DEVICE_NAME) - 1)

static K_SEM_DEFINE(ble_init_ok, 0, 1);

static struct bt_conn* current_conn;
static struct bt_conn* auth_conn;
static struct k_work   adv_work;

static uint16_t payload_mtu   = 20;
static bool     ble_connected = false;

static char           dynamic_device_name[30];
static struct bt_data ad[] = {
    BT_DATA_BYTES(BT_DATA_FLAGS, (BT_LE_AD_GENERAL | BT_LE_AD_NO_BREDR)),
    BT_DATA(BT_DATA_NAME_COMPLETE, "MENTRA_DISPLAY_", 16),
};
static struct bt_data sd[] = {
    BT_DATA_BYTES(BT_DATA_UUID128_ALL, BT_UUID_MENTRA_VAL),
};

static void setup_dynamic_advertising(void)
{
    bt_addr_le_t addr;
    size_t       count = 1;

    // Get the device address
    bt_id_get(&addr, &count);

    // Create device name with MAC suffix (last 6 hex digits)
    snprintf(dynamic_device_name, sizeof(dynamic_device_name), "MENTRA_DISPLAY_%02X%02X%02X", addr.a.val[2],
             addr.a.val[1], addr.a.val[0]);

    LOG_INF("Device name: %s", dynamic_device_name);

    // Set the Bluetooth device name
    int err = bt_set_name(dynamic_device_name);
    if (err)
    {
        LOG_ERR("Failed to set device name (err %d)", err);
    }

    // Update the advertising data with the new name
    ad[1].data     = (const uint8_t*)dynamic_device_name;
    ad[1].data_len = strlen(dynamic_device_name);

    // err = bt_le_adv_update_data(ad, ARRAY_SIZE(ad), sd, ARRAY_SIZE(sd));
    // if (err != 0)
    // {
    //     LOG_ERR("Failed to update adv data (err %d)", err);
    // }
}

const char* get_ble_device_name(void)
{
    return dynamic_device_name;
}

static void adv_work_handler(struct k_work* work)
{
    // Setup dynamic advertising
    setup_dynamic_advertising();
    int err = bt_le_adv_start(BT_LE_ADV_CONN_FAST_2, ad, 2, sd, 1);
    if (err)
    {
        LOG_ERR("Advertising failed to start (err %d)", err);
        return;
    }
}

static void advertising_start(void)
{
    k_work_submit(&adv_work);
}
void set_ble_connected_status(bool connected)
{
    ble_connected = connected;
}
bool get_ble_connected_status(void)
{
    return ble_connected;
}
static void connected(struct bt_conn* conn, uint8_t err)
{
    char addr[BT_ADDR_LE_STR_LEN];

    if (err)
    {
        LOG_ERR("Connection failed, err 0x%02x %s", err, bt_hci_err_to_str(err));
        return;
    }

    bt_addr_le_to_str(bt_conn_get_dst(conn), addr, sizeof(addr));
    LOG_INF("Connected %s", addr);
    set_ble_connected_status(true);
    current_conn = bt_conn_ref(conn);
}

static void disconnected(struct bt_conn* conn, uint8_t reason)
{
    char addr[BT_ADDR_LE_STR_LEN];

    bt_addr_le_to_str(bt_conn_get_dst(conn), addr, sizeof(addr));

    LOG_INF("Disconnected: %s, reason 0x%02x %s", addr, reason, bt_hci_err_to_str(reason));
    set_ble_connected_status(false);
    display_show_welcome_screen(); /* 断开后自动回到欢迎界面 | Return to welcome screen on disconnect */
    if (auth_conn)
    {
        bt_conn_unref(auth_conn);
        auth_conn = NULL;
    }

    if (current_conn)
    {
        bt_conn_unref(current_conn);
        current_conn = NULL;
    }
}

static void recycled_cb(void)
{
    LOG_INF("Connection object available from previous conn. Disconnect is complete!");
    advertising_start();
}

#ifdef CONFIG_BT_NUS_SECURITY_ENABLED
static void security_changed(struct bt_conn* conn, bt_security_t level, enum bt_security_err err)
{
    char addr[BT_ADDR_LE_STR_LEN];

    bt_addr_le_to_str(bt_conn_get_dst(conn), addr, sizeof(addr));

    if (!err)
    {
        LOG_INF("Security changed: %s level %u", addr, level);
    }
    else
    {
        LOG_WRN("Security failed: %s level %u err %d %s", addr, level, err, bt_security_err_to_str(err));
    }
}
#endif

BT_CONN_CB_DEFINE(conn_callbacks) = {
    .connected    = connected,
    .disconnected = disconnected,
    .recycled     = recycled_cb,
#ifdef CONFIG_BT_NUS_SECURITY_ENABLED
    .security_changed = security_changed,
#endif
};

#if defined(CONFIG_BT_NUS_SECURITY_ENABLED)
static void auth_passkey_display(struct bt_conn* conn, unsigned int passkey)
{
    char addr[BT_ADDR_LE_STR_LEN];

    bt_addr_le_to_str(bt_conn_get_dst(conn), addr, sizeof(addr));

    LOG_INF("Passkey for %s: %06u", addr, passkey);
}

static void auth_passkey_confirm(struct bt_conn* conn, unsigned int passkey)
{
    char addr[BT_ADDR_LE_STR_LEN];

    auth_conn = bt_conn_ref(conn);

    bt_addr_le_to_str(bt_conn_get_dst(conn), addr, sizeof(addr));

    LOG_INF("Passkey for %s: %06u", addr, passkey);

    if (IS_ENABLED(CONFIG_SOC_SERIES_NRF54HX) || IS_ENABLED(CONFIG_SOC_SERIES_NRF54LX))
    {
        LOG_INF("Press Button 0 to confirm, Button 1 to reject.");
    }
    else
    {
        LOG_INF("Press Button 1 to confirm, Button 2 to reject.");
    }
}

static void auth_cancel(struct bt_conn* conn)
{
    char addr[BT_ADDR_LE_STR_LEN];

    bt_addr_le_to_str(bt_conn_get_dst(conn), addr, sizeof(addr));

    LOG_INF("Pairing cancelled: %s", addr);
}

static void pairing_complete(struct bt_conn* conn, bool bonded)
{
    char addr[BT_ADDR_LE_STR_LEN];

    bt_addr_le_to_str(bt_conn_get_dst(conn), addr, sizeof(addr));

    LOG_INF("Pairing completed: %s, bonded: %d", addr, bonded);
}

static void pairing_failed(struct bt_conn* conn, enum bt_security_err reason)
{
    char addr[BT_ADDR_LE_STR_LEN];

    bt_addr_le_to_str(bt_conn_get_dst(conn), addr, sizeof(addr));

    LOG_INF("Pairing failed conn: %s, reason %d %s", addr, reason, bt_security_err_to_str(reason));
}

static struct bt_conn_auth_cb conn_auth_callbacks = {
    .passkey_display = auth_passkey_display,
    .passkey_confirm = auth_passkey_confirm,
    .cancel          = auth_cancel,
};

static struct bt_conn_auth_info_cb conn_auth_info_callbacks = {.pairing_complete = pairing_complete,
                                                               .pairing_failed   = pairing_failed};
#else
static struct bt_conn_auth_cb      conn_auth_callbacks;
static struct bt_conn_auth_info_cb conn_auth_info_callbacks;
#endif

static void bt_receive_cb(struct bt_conn* conn, const uint8_t* const data, uint16_t len)
{
    char addr[BT_ADDR_LE_STR_LEN] = {0};

    bt_addr_le_to_str(bt_conn_get_dst(conn), addr, ARRAY_SIZE(addr));

    LOG_INF("Received data from: %s", addr);

    // Analyze the protobuf message and send to LVGL display
    protobuf_analyze_message(data, len);

    // Generate and send echo response
    uint8_t echo_buffer[128];
    int     echo_len = protobuf_generate_echo_response(data, len, echo_buffer, sizeof(echo_buffer));

    if (echo_len > 0)
    {
        LOG_INF("🔄 Attempting to send echo response (%d bytes)...", echo_len);
        int err = custom_nus_send(conn, echo_buffer, echo_len);
        if (err)
        {
            LOG_ERR("❌ Failed to send echo response: %d (likely notification subscription issue)", err);
        }
        else
        {
            LOG_INF("✅ Sent echo response successfully: %s", echo_buffer);
        }
    }
    else
    {
        LOG_WRN("⚠️ No echo response generated (echo_len = %d)", echo_len);
    }
}

static struct custom_nus_cb nus_cb = {
    .received = bt_receive_cb,
};
uint16_t get_ble_payload_mtu(void)
{
    return payload_mtu;
}
void mtu_updated(struct bt_conn* conn, uint16_t tx, uint16_t rx)
{
    payload_mtu = bt_gatt_get_mtu(conn) - 3;  // 3 bytes used for Attribute headers.
    LOG_INF("Updated MTU: TX: %d RX: %d bytes", tx, rx);
    LOG_INF("Updated MTU: %d; Payload=[%d] ", payload_mtu + 3, payload_mtu);
}
static struct bt_gatt_cb gatt_callbacks = {.att_mtu_updated = mtu_updated};

/**
 * @brief ble send data function
 * @param data Pointer to the data to send
 * @param len Length of the data to send
 * @return 0 on success, -1 on failure
 */
int ble_send_data(const uint8_t* data, uint16_t len)
{
    if ((!data || len == 0) || !get_ble_connected_status())
    // if ((!data || len == 0))
    {
        // LOG_ERR("Invalid data or length || ble not connected");
        return -1;
    }
    // LOG_INF("<--Sending data to BLE-->: len=%d", len);
    // LOG_INF("Data: %s", data);
    // LOG_HEXDUMP_INF(data, len, "Hexdump:");
    uint16_t offset = 0;
    uint16_t mtu    = get_ble_payload_mtu();
    while (offset < len)
    {
        uint16_t chunk_len = MIN(len - offset, mtu);
        int      retry     = 0;
        int      err;
        do
        {
            err = custom_nus_send(NULL, &data[offset], chunk_len);
            if (err == 0)
                break;
            LOG_ERR(" Chunk send failed (offset=%u len=%u), retry %d", offset, chunk_len, retry);
        } while (++retry < 3);  // max 3 retries
        // LOG_HEXDUMP_INF( &data[offset], chunk_len, "Hexdump:");
        if (err != 0)
        {
            LOG_ERR("Final failure at offset=%u", offset);
            return -1;
        }
        offset += chunk_len;
        k_msleep(1);  // delay 2ms to avoid flooding the BLE interface
    }

    return 0;
}
void error(void)
{
    while (true)
    {
        /* Spin for ever */
        k_sleep(K_MSEC(1000));
    }
}

#ifdef CONFIG_BT_NUS_SECURITY_ENABLED
static void num_comp_reply(bool accept)
{
    if (accept)
    {
        bt_conn_auth_passkey_confirm(auth_conn);
        LOG_INF("Numeric Match, conn %p", (void*)auth_conn);
    }
    else
    {
        bt_conn_auth_cancel(auth_conn);
        LOG_INF("Numeric Reject, conn %p", (void*)auth_conn);
    }

    bt_conn_unref(auth_conn);
    auth_conn = NULL;
}
#endif /* CONFIG_BT_NUS_SECURITY_ENABLED */

/**
 * @brief Initialize user GPIOs (ES power and Microphone power)
 * @return 0 on success, negative value on error
 */
#define USER_NODE DT_PATH(zephyr_user)
static const struct gpio_dt_spec vad_power   = GPIO_DT_SPEC_GET(USER_NODE, vad_power_gpios);
static const struct gpio_dt_spec int4        = GPIO_DT_SPEC_GET(USER_NODE, int4_gpios);
static const struct gpio_dt_spec ear_en      = GPIO_DT_SPEC_GET(USER_NODE, ear_en_gpios);
/**
 * @brief Control VAD power on/off | 控制VAD电源开关
 * @param enable true to turn on VAD power (HIGH), false to turn off (LOW) |
 * true开启VAD电源（高电平），false关闭（低电平）
 */
void vad_power_control(bool enable)
{
    gpio_pin_set_dt(&vad_power, enable ? 1 : 0);
    LOG_INF("VAD power %s", enable ? "ON" : "OFF");
}

/**
 * @brief Control ear_en on/off | 控制 ear_en 开关
 * @param enable true to set HIGH, false to set LOW | true拉高，false拉低
 */
void ear_en_control(bool enable)
{
    gpio_pin_set_dt(&ear_en, enable ? 1 : 0);
    LOG_INF("ear_en %s", enable ? "HIGH" : "LOW");
}

int init_user_gpio(void)
{
    int err;
    const struct gpio_dt_spec* gpios[] = {
        &vad_power,
        &int4,
    };
    const char* gpio_names[] = {
        "vad_power (P1.00)",
        "user1_p0_28 (P0.28)",
        "int4 (P0.22)",
    };

    /* Initialize all user GPIOs as output, default LOW | 初始化所有用户GPIO为输出，默认低电平 */
    for (int i = 0; i < ARRAY_SIZE(gpios); i++)
    {
        if (!gpio_is_ready_dt(gpios[i]))
        {
            LOG_ERR("GPIO port for %s not ready", gpio_names[i]);
            return -1;
        }

        /* Configure as output, default LOW | 配置为输出，默认低电平 */
        err = gpio_pin_configure_dt(gpios[i], GPIO_OUTPUT_INACTIVE);
        if (err != 0)
        {
            LOG_ERR("%s config error: %d", gpio_names[i], err);
            return err;
        }

        /* Set to LOW (inactive) | 设置为低电平（非活动）*/
        err = gpio_pin_set_dt(gpios[i], 0);
        if (err != 0)
        {
            LOG_ERR("Failed to set %s to LOW: %d", gpio_names[i], err);
            return err;
        }

        // LOG_DBG("%s configured as output, set to LOW", gpio_names[i]);
    }

    /* Force specified IOs to default LOW on power-up | 指定 IO 上电默认拉低 */
    const uint32_t default_low_pins[] = {
        NRF_GPIO_PIN_MAP(1, 12), NRF_GPIO_PIN_MAP(0, 27), 
        NRF_GPIO_PIN_MAP(0, 24), NRF_GPIO_PIN_MAP(0, 26),
        NRF_GPIO_PIN_MAP(0, 28), NRF_GPIO_PIN_MAP(0, 2),  
        NRF_GPIO_PIN_MAP(0, 3),  NRF_GPIO_PIN_MAP(0, 4), 
    };

    for (int i = 0; i < ARRAY_SIZE(default_low_pins); i++)
    {
        nrf_gpio_cfg_output(default_low_pins[i]);
        nrf_gpio_pin_clear(default_low_pins[i]);
    }
    /* ear_en: configure as output and pull HIGH | ear_en：配置为输出并拉高 */
    if (gpio_is_ready_dt(&ear_en))
    {
        err = gpio_pin_configure_dt(&ear_en, GPIO_OUTPUT_ACTIVE);
        if (err != 0)
        {
            LOG_ERR("ear_en GPIO config error: %d", err);
            return err;
        }
        ear_en_control(true);  // Ensure ear_en is HIGH
        LOG_INF("ear_en GPIO configured and set to HIGH");
    }
    else
    {
        LOG_WRN("ear_en GPIO not ready, skipping");
    }
    LOG_INF("User GPIOs configured successfully");
    return 0;
}



int main(void)
{
    int err = 0;
    LOG_INF("🚀🚀🚀 MAIN FUNCTION STARTED - v2.2.0-DISPLAY_OPEN_FIX 🚀🚀🚀");

    bool woke_from_sleep = mos_button_app_check_wakeup_state();

    err = init_user_gpio();
    if (err != 0)
    {
        LOG_ERR("Failed to initialize user GPIOs: %d", err);
    }

    vad_power_control(true);  // Enable VAD power by default | 默认启用VAD电源

    if (IS_ENABLED(CONFIG_BT_NUS_SECURITY_ENABLED))
    {
        err = bt_conn_auth_cb_register(&conn_auth_callbacks);
        if (err)
        {
            LOG_ERR("Failed to register authorization callbacks. (err: %d)", err);
            return 0;
        }

        err = bt_conn_auth_info_cb_register(&conn_auth_info_callbacks);
        if (err)
        {
            LOG_ERR("Failed to register authorization info callbacks. (err: %d)", err);
            return 0;
        }
    }

    err = bt_enable(NULL);
    if (err)
    {
        error();
    }

    LOG_INF("Bluetooth initialized");

    k_sem_give(&ble_init_ok);

    if (IS_ENABLED(CONFIG_SETTINGS))
    {
        settings_load();
    }

    err = custom_nus_init(&nus_cb);
    if (err)
    {
        LOG_ERR("Failed to initialize BLE service (err: %d)", err);
        return 0;
    }

    dfu_progress_init();

    k_work_init(&adv_work, adv_work_handler);
    advertising_start();
    bt_gatt_cb_register(&gatt_callbacks);

    /* Initialize interrupt handler framework early | 早期初始化中断处理框架 */
    interrupt_handler_init();

    /* Initialize J-Link/USB switch application | 初始化J-Link/USB切换应用 */
    mos_jlink_usb_switch_app_init();
    mos_npm1300_ldsw1_init();
    mos_npm1300_ldsw1_enable();

    /* woke_from_sleep is already set by mos_button_app_check_wakeup_state() called at the start of main() |
     * woke_from_sleep已由main()开始时调用的mos_button_app_check_wakeup_state()设置 */
    if (woke_from_sleep)
    {
        LOG_INF("Device woke from System OFF - waiting for power-on long press (2.5s)...");

        int ret = mos_button_app_wait_for_power_on(1500);

        if (ret != 0)
        {
            LOG_WRN("Power-on long press not detected - entering sleep again");
            /* Enter sleep again | 再次进入休眠 */
            mos_button_app_enter_sleep();
            /* Should not reach here | 不应该到达这里 */
        }

        LOG_INF("Power-on long press confirmed - starting device normally");
    }
    mos_button_app_init();

    pm1300_init();
    battery_monitor_auto_start();

    lvgl_display_thread();

    pdm_audio_stream_init();

    protobuf_init_ping_monitoring();

    opt3006_initialize();

    lsm6dsv16x_init();

    usb_detect_init();

    npm1300_led_init();

    for (;;)
    {
        // LOG_INF("MAIN LOOP");
        k_sleep(K_MSEC(1000));
    }
}

static int hfclock_config_and_start(void)
{
    int ret;
    /* Use this to turn on 128 MHz clock for cpu_app */
    ret = nrfx_clock_divider_set(NRF_CLOCK_DOMAIN_HFCLK, NRF_CLOCK_HFCLK_DIV_1);
    ret -= NRFX_ERROR_BASE_NUM;
    if (ret)
    {
        return ret;
    }
    nrfx_clock_hfclk_start();
    while (!nrfx_clock_hfclk_is_running())
    {
    }
    return 0;
}
SYS_INIT(hfclock_config_and_start, POST_KERNEL, 0);
```

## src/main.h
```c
#ifndef MAIN_H
#define MAIN_H

/**
 * @brief Get the current BLE device name (includes MAC address suffix)
 * @return Pointer to the device name string (e.g., "Display-A1B2C3")
 */
const char *get_ble_device_name(void);

#endif /* MAIN_H */
```

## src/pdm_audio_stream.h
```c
/*
 * Copyright (c) 2025 Mentra
 *
 * SPDX-License-Identifier: Apache-2.0
 * 
 * PDM Audio Stream Module
 * 
 * Provides microphone input capture via PDM and LC3 audio streaming 
 * to mobile app via BLE protobuf messages.
 * 
 * HARDWARE CONFIGURATION:
 * - PDM_CLK: P0.20 (nRF5340 PDM Clock Output)  
 * - PDM_DIN: P0.21 (nRF5340 PDM Data Input)
 * - Microphone: Dual MSM261DCB002 digital PDM microphones connected to P0.20/P0.21
 * 
 * AUDIO SPECIFICATIONS:
 * - Sample Rate: 16 kHz (optimized for voice)
 * - Bit Depth: 16-bit PCM
 * - Channels: Mono (single microphone)
 * - Frame Size: 160 samples (10ms @ 16kHz)
 * 
 * LC3 STREAMING:
 * - Codec: LC3 (Low Complexity Communication Codec)
 * - Frame Duration: 10ms
 * - Bitrate: Configurable (default optimized for voice)
 * - Transport: BLE via protobuf 0xA0 audio chunk messages
 * 
 * INTEGRATION:
 * - MicStateConfig (Tag 20): Enable/disable microphone streaming
 * - Audio Chunk (0xA0): Stream LC3-encoded audio data to mobile app
 * - Real-time streaming with minimal latency
 */

#ifndef PDM_AUDIO_STREAM_H
#define PDM_AUDIO_STREAM_H

#include <stdint.h>
#include <stdbool.h>

#include "mos_components/mos_pdm/include/mos_pdm.h"

/* Audio configuration constants */
#define PDM_SAMPLE_RATE         16000    // 16 kHz voice optimized
#define PDM_BIT_DEPTH           16       // PCM bit depth, measured in bits
#define PDM_CHANNELS            1        // Mono microphone input
#define PDM_FRAME_SIZE_SAMPLES  160      // 10ms frame @ 16kHz
#define PDM_FRAME_SIZE_BYTES    (PDM_FRAME_SIZE_SAMPLES * 2)  // 16-bit samples

/* LC3 encoding configuration */
#define LC3_FRAME_DURATION_US   10000    // 10ms frame duration
#define LC3_MAX_ENCODED_SIZE    100      // Maximum LC3 encoded frame size
#define LC3_BITRATE_DEFAULT     32000    // 32 kbps default bitrate
#define LC3_FRAME_LEN           (LC3_BITRATE_DEFAULT * LC3_FRAME_DURATION_US / 8 / 1000000)

/* Audio streaming state */
typedef enum {
    PDM_AUDIO_STATE_DISABLED = 0,
    PDM_AUDIO_STATE_ENABLED = 1,
    PDM_AUDIO_STATE_STREAMING = 2,
    PDM_AUDIO_STATE_ERROR = 3
} pdm_audio_state_t;

/**
 * @brief Initialize PDM audio streaming system
 * 
 * Sets up PDM driver, LC3 encoder, and audio processing thread.
 * Must be called before any other PDM audio functions.
 * 
 * @return 0 on success, negative error code on failure
 */
int pdm_audio_stream_init(void);

/**
 * @brief Enable/disable microphone audio streaming
 * 
 * Controls microphone capture and LC3 streaming to mobile app.
 * Called in response to MicStateConfig protobuf messages (Tag 20).
 * 
 * @param enabled true to start streaming, false to stop
 * @return 0 on success, negative error code on failure
 */
int pdm_audio_stream_set_enabled(bool enabled);

/**
 * @brief Get current audio streaming state
 * 
 * @return Current streaming state
 */
pdm_audio_state_t pdm_audio_stream_get_state(void);

/**
 * @brief Get current audio streaming statistics
 * 
 * Provides debugging information about streaming performance.
 * 
 * @param frames_captured Output: Number of audio frames captured
 * @param frames_encoded Output: Number of frames successfully LC3 encoded  
 * @param frames_transmitted Output: Number of frames sent via BLE
 * @param errors Output: Number of streaming errors encountered
 */
void pdm_audio_stream_get_stats(uint32_t *frames_captured, uint32_t *frames_encoded,
                                uint32_t *frames_transmitted, uint32_t *errors);

/**
 * @brief Enable/disable I2S audio output (loopback playback)
 * 启用/禁用I2S音频输出（环回播放）
 * 
 * @param enabled true to enable I2S playback, false to disable
 * @return 0 on success, negative error code on failure
 */
int pdm_audio_set_i2s_output(bool enabled);
bool pdm_audio_get_i2s_output(void);

int lc3_decoder_start(void);
int lc3_decoder_stop(void);

/**
 *  @brief Select which PDM channel(s) feed the CPU mixer (left/right/stereo-mix).
 */
int pdm_audio_stream_set_channel(pdm_channel_t channel);

pdm_channel_t pdm_audio_stream_get_channel(void);

bool pdm_audio_stream_is_initialized(void);

#endif /* PDM_AUDIO_STREAM_H */
```

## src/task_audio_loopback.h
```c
/**
 * @file task_audio_loopback.h
 * @brief Simple PDM→I2S Audio Loopback System for nRF5340
 * 
 * Based on MentraOS task_lc3_codec.c implementation
 * Provides real-time audio loopback: PDM microphone → I2S output
 * 
 * Hardware Configuration:
 * - PDM: P0.20 (CLK), P0.21 (DIN) 
 * - I2S: P1.06 (LRCK), P1.07 (BCLK), P1.08 (SDIN)
 * 
 * Audio Format:
 * - Sample Rate: 16kHz
 * - Bit Depth: 16-bit
 * - Frame Size: 10ms (160 samples)
 * - Channels: Mono (PDM) → Stereo (I2S)
 */

#ifndef TASK_AUDIO_LOOPBACK_H
#define TASK_AUDIO_LOOPBACK_H

#include <zephyr/kernel.h>
#include <stdint.h>

#ifdef __cplusplus
extern "C" {
#endif

/** Audio Configuration - Based on MentraOS implementation */
#define AUDIO_SAMPLE_RATE       16000    // 16kHz sample rate
#define AUDIO_FRAME_DURATION_MS 10       // 10ms frame duration
#define AUDIO_SAMPLES_PER_FRAME (AUDIO_SAMPLE_RATE * AUDIO_FRAME_DURATION_MS / 1000)  // 160 samples
#define AUDIO_PCM_BUFFER_SIZE   AUDIO_SAMPLES_PER_FRAME  // 160 samples

/**
 * @brief Initialize audio loopback task
 * 
 * Creates and starts the audio loopback task that handles:
 * 1. PDM microphone initialization and sampling
 * 2. I2S audio output initialization
 * 3. Real-time audio loopback processing
 */
void task_audio_loopback_init(void);

/**
 * @brief Get audio loopback task status
 * 
 * @return true if audio loopback is running, false otherwise
 */
bool task_audio_loopback_is_running(void);

/**
 * @brief Stop audio loopback task
 */
void task_audio_loopback_stop(void);

#ifdef __cplusplus
}
#endif

#endif // TASK_AUDIO_LOOPBACK_H
```
